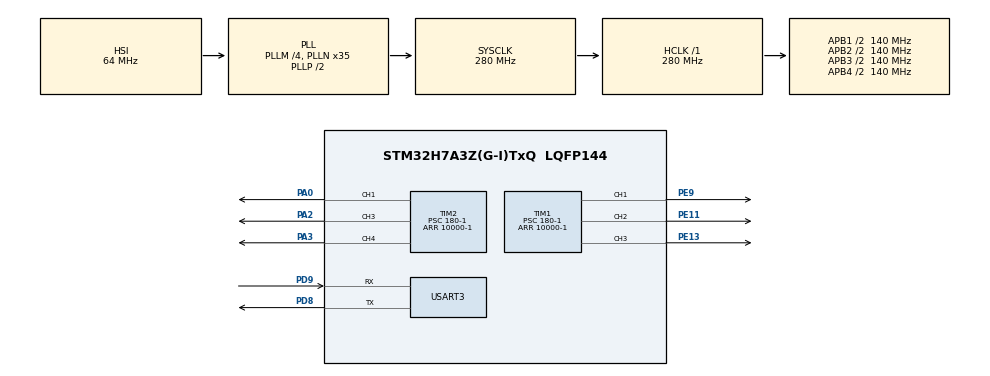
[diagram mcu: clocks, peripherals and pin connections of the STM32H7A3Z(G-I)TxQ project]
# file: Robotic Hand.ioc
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Mcu.Family=STM32H7
Mcu.Name=STM32H7A3Z(G-I)TxQ
Mcu.Package=LQFP144
NVIC.PriorityGroup=NVIC_PRIORITYGROUP_4
NVIC.USART3_IRQn=true\:0\:0\:false\:false\:true\:true\:true\:true
PA0.Signal=S_TIM2_CH1_ETR
PA2.Signal=S_TIM2_CH3
PA3.Signal=S_TIM2_CH4
PC14-OSC32_IN.Mode=LSE-External-Oscillator
PC14-OSC32_IN.Signal=RCC_OSC32_IN
PC15-OSC32_OUT.Mode=LSE-External-Oscillator
PC15-OSC32_OUT.Signal=RCC_OSC32_OUT
PD8.Mode=Asynchronous
PD8.Signal=USART3_TX
PD9.Mode=Asynchronous
PD9.Signal=USART3_RX
PE11.Signal=S_TIM1_CH2
PE13.Signal=S_TIM1_CH3
PE9.Signal=S_TIM1_CH1
PH0-OSC_IN.Mode=HSE-External-Clock-Source
PH0-OSC_IN.Signal=RCC_OSC_IN
ProjectManager.HeapSize=0x200
ProjectManager.StackSize=0x400
ProjectManager.TargetToolchain=STM32CubeIDE
RCC.ADCFreq_Value=129000000
RCC.APB1Freq_Value=140000000
RCC.APB2Freq_Value=140000000
RCC.APB3Freq_Value=140000000
RCC.APB4Freq_Value=140000000
RCC.CDPPRE=RCC_APB3_DIV2
RCC.CDPPRE1=RCC_APB1_DIV2
RCC.CDPPRE2=RCC_APB2_DIV2
RCC.CortexFreq_Value=280000000
RCC.DIVM1=4
RCC.DIVM3=1
RCC.DIVN1=35
RCC.DIVN3=24
RCC.DIVQ1=4
RCC.HCLKFreq_Value=280000000
RCC.HSE_VALUE=8000000
RCC.PLLFRACN=0
RCC.PWR_Regulator_Voltage_Scale=PWR_REGULATOR_VOLTAGE_SCALE0
RCC.SRDPPRE=RCC_APB4_DIV2
RCC.SYSCLKFreq_VALUE=280000000
RCC.SYSCLKSource=RCC_SYSCLKSOURCE_PLLCLK
RCC.SupplySource=PWR_DIRECT_SMPS_SUPPLY
RCC.USBCLockSelection=RCC_USBCLKSOURCE_HSI48
RCC.USBFreq_Value=48000000
SH.S_TIM1_CH1.0=TIM1_CH1,PWM Generation1 CH1
SH.S_TIM1_CH2.0=TIM1_CH2,PWM Generation2 CH2
SH.S_TIM1_CH3.0=TIM1_CH3,PWM Generation3 CH3
SH.S_TIM2_CH1_ETR.0=TIM2_CH1,PWM Generation1 CH1
SH.S_TIM2_CH3.0=TIM2_CH3,PWM Generation3 CH3
SH.S_TIM2_CH4.0=TIM2_CH4,PWM Generation4 CH4
TIM1.Channel-PWM\ Generation1\ CH1=TIM_CHANNEL_1
TIM1.Channel-PWM\ Generation2\ CH2=TIM_CHANNEL_2
TIM1.Channel-PWM\ Generation3\ CH3=TIM_CHANNEL_3
TIM1.Period=10000-1
TIM1.Prescaler=180-1
TIM2.Channel-PWM\ Generation1\ CH1=TIM_CHANNEL_1
TIM2.Channel-PWM\ Generation3\ CH3=TIM_CHANNEL_3
TIM2.Channel-PWM\ Generation4\ CH4=TIM_CHANNEL_4
TIM2.Period=10000-1
TIM2.Prescaler=180-1
USART3.VirtualMode-Asynchronous=VM_ASYNC
VP_TIM1_VS_ClockSourceINT.Mode=Internal
VP_TIM2_VS_ClockSourceINT.Mode=Internal
board=NUCLEO-H7A3ZI-Q

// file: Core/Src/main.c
/* USER CODE BEGIN Header */
/**
  ******************************************************************************
  * @file           : main.c
  * @brief          : Main program body
  ******************************************************************************
  * @attention
  *
  * Copyright (c) 2024 STMicroelectronics.
  * All rights reserved.
  *
  * This software is licensed under terms that can be found in the LICENSE file
  * in the root directory of this software component.
  * If no LICENSE file comes with this software, it is provided AS-IS.
  *
  ******************************************************************************
  */
/* USER CODE END Header */
#include "main.h"

TIM_HandleTypeDef htim1;
TIM_HandleTypeDef htim2;

UART_HandleTypeDef huart3;

/* USER CODE BEGIN PV */
unsigned char Buf[17];
char cleanStr[16];
int numbers[5];
/* USER CODE END PV */

void SystemClock_Config(void);
static void MX_GPIO_Init(void);
static void MX_TIM1_Init(void);
static void MX_TIM2_Init(void);
static void MX_USART3_UART_Init(void);

int main(void)
{

  /* MCU Configuration--------------------------------------------------------*/

  /* Reset of all peripherals, Initializes the Flash interface and the Systick. */
  HAL_Init();

  /* Configure the system clock */
  SystemClock_Config();

  /* Initialize all configured peripherals */
  MX_GPIO_Init();
  MX_TIM1_Init();
  MX_TIM2_Init();
  MX_USART3_UART_Init();
  /* USER CODE BEGIN 2 */
  HAL_TIM_PWM_Start(&htim1, TIM_CHANNEL_1);
  HAL_TIM_PWM_Start(&htim1, TIM_CHANNEL_2);
  HAL_TIM_PWM_Start(&htim2, TIM_CHANNEL_1);
  HAL_TIM_PWM_Start(&htim2, TIM_CHANNEL_3);
  HAL_TIM_PWM_Start(&htim2, TIM_CHANNEL_4);
  HAL_TIM_PWM_Start(&htim1, TIM_CHANNEL_3);
  /* USER CODE END 2 */

  /* Infinite loop */
  while (1)
  {

    /* USER CODE BEGIN 3 */
	  HAL_UART_Receive_IT(&huart3, Buf, sizeof(Buf));
	  strncpy(cleanStr, (const char *)Buf + 1, sizeof(Buf) - 2);

	  cleanStr[sizeof(Buf) - 2] = '\0';

	  for (int i = 0; i < 5; i++) {
	  	char temp[4];
	  	strncpy(temp, cleanStr + (i * 3), 3);
	  	temp[3] = '\0';
	  	numbers[i] = atoi(temp);
	  }

	  if ( numbers[4] >= 120 ){
	  	__HAL_TIM_SET_COMPARE(&htim2, TIM_CHANNEL_3, 5500);
	  }
	  else if (numbers[4] <= 30 ){
	  	__HAL_TIM_SET_COMPARE(&htim2, TIM_CHANNEL_3, 1000);
	  }
	  if ( numbers[3] >= 120 ){
		__HAL_TIM_SET_COMPARE(&htim1, TIM_CHANNEL_1, 400);
	  }
	  else if (numbers[3] <= 30 ){
	  	__HAL_TIM_SET_COMPARE(&htim1, TIM_CHANNEL_1, 3000);
	  }
	  if ( numbers[2] >= 120 ){
	  	__HAL_TIM_SET_COMPARE(&htim1, TIM_CHANNEL_2, 1050);
	  }
	  else if (numbers[2] <= 30 ){
	  	__HAL_TIM_SET_COMPARE(&htim1, TIM_CHANNEL_2, 4000);
	  }
	  if ( numbers[1] >= 120 ){
	  	__HAL_TIM_SET_COMPARE(&htim2, TIM_CHANNEL_1, 3500);
	  }
	  else if (numbers[1] <= 30 ){
	  	__HAL_TIM_SET_COMPARE(&htim2, TIM_CHANNEL_1, 1000);
	  }
	  if ( numbers[0] >= 120 ){
	  	__HAL_TIM_SET_COMPARE(&htim2, TIM_CHANNEL_4, 3500);
	  	__HAL_TIM_SET_COMPARE(&htim1, TIM_CHANNEL_3, 3500);
	  }
	  else if (numbers[0] <= 30 ){
	  	__HAL_TIM_SET_COMPARE(&htim1, TIM_CHANNEL_3, 1000);
	  	__HAL_TIM_SET_COMPARE(&htim2, TIM_CHANNEL_4, 1000);
	  }
  /* USER CODE END 3 */
  }
}
void SystemClock_Config(void)
{
  RCC_OscInitTypeDef RCC_OscInitStruct = {0};
  RCC_ClkInitTypeDef RCC_ClkInitStruct = {0};

  /*AXI clock gating */
  RCC->CKGAENR = 0xFFFFFFFF;

  /** Supply configuration update enable
  */
  HAL_PWREx_ConfigSupply(PWR_DIRECT_SMPS_SUPPLY);

  /** Configure the main internal regulator output voltage
  */
  __HAL_PWR_VOLTAGESCALING_CONFIG(PWR_REGULATOR_VOLTAGE_SCALE0);

  while(!__HAL_PWR_GET_FLAG(PWR_FLAG_VOSRDY)) {}

  /** Initializes the RCC Oscillators according to the specified parameters
  * in the RCC_OscInitTypeDef structure.
  */
  RCC_OscInitStruct.OscillatorType = RCC_OSCILLATORTYPE_HSI;
  RCC_OscInitStruct.HSIState = RCC_HSI_DIV1;
  RCC_OscInitStruct.HSICalibrationValue = 64;
  RCC_OscInitStruct.PLL.PLLState = RCC_PLL_ON;
  RCC_OscInitStruct.PLL.PLLSource = RCC_PLLSOURCE_HSI;
  RCC_OscInitStruct.PLL.PLLM = 4;
  RCC_OscInitStruct.PLL.PLLN = 35;
  RCC_OscInitStruct.PLL.PLLP = 2;
  RCC_OscInitStruct.PLL.PLLQ = 4;
  RCC_OscInitStruct.PLL.PLLR = 2;
  RCC_OscInitStruct.PLL.PLLRGE = RCC_PLL1VCIRANGE_3;
  RCC_OscInitStruct.PLL.PLLVCOSEL = RCC_PLL1VCOWIDE;
  RCC_OscInitStruct.PLL.PLLFRACN = 0;
  if (HAL_RCC_OscConfig(&RCC_OscInitStruct) != HAL_OK)
  {
    Error_Handler();
  }

  /** Initializes the CPU, AHB and APB buses clocks
  */
  RCC_ClkInitStruct.ClockType = RCC_CLOCKTYPE_HCLK|RCC_CLOCKTYPE_SYSCLK
                              |RCC_CLOCKTYPE_PCLK1|RCC_CLOCKTYPE_PCLK2
                              |RCC_CLOCKTYPE_D3PCLK1|RCC_CLOCKTYPE_D1PCLK1;
  RCC_ClkInitStruct.SYSCLKSource = RCC_SYSCLKSOURCE_PLLCLK;
  RCC_ClkInitStruct.SYSCLKDivider = RCC_SYSCLK_DIV1;
  RCC_ClkInitStruct.AHBCLKDivider = RCC_HCLK_DIV1;
  RCC_ClkInitStruct.APB3CLKDivider = RCC_APB3_DIV2;
  RCC_ClkInitStruct.APB1CLKDivider = RCC_APB1_DIV2;
  RCC_ClkInitStruct.APB2CLKDivider = RCC_APB2_DIV2;
  RCC_ClkInitStruct.APB4CLKDivider = RCC_APB4_DIV2;

  if (HAL_RCC_ClockConfig(&RCC_ClkInitStruct, FLASH_LATENCY_6) != HAL_OK)
  {
    Error_Handler();
  }
}

static void MX_TIM1_Init(void)
{

  TIM_ClockConfigTypeDef sClockSourceConfig = {0};
  TIM_MasterConfigTypeDef sMasterConfig = {0};
  TIM_OC_InitTypeDef sConfigOC = {0};
  TIM_BreakDeadTimeConfigTypeDef sBreakDeadTimeConfig = {0};

  htim1.Instance = TIM1;
  htim1.Init.Prescaler = 180-1;
  htim1.Init.CounterMode = TIM_COUNTERMODE_UP;
  htim1.Init.Period = 10000-1;
  htim1.Init.ClockDivision = TIM_CLOCKDIVISION_DIV1;
  htim1.Init.RepetitionCounter = 0;
  htim1.Init.AutoReloadPreload = TIM_AUTORELOAD_PRELOAD_DISABLE;
  if (HAL_TIM_Base_Init(&htim1) != HAL_OK)
  {
    Error_Handler();
  }
  sClockSourceConfig.ClockSource = TIM_CLOCKSOURCE_INTERNAL;
  if (HAL_TIM_ConfigClockSource(&htim1, &sClockSourceConfig) != HAL_OK)
  {
    Error_Handler();
  }
  if (HAL_TIM_PWM_Init(&htim1) != HAL_OK)
  {
    Error_Handler();
  }
  sMasterConfig.MasterOutputTrigger = TIM_TRGO_RESET;
  sMasterConfig.MasterOutputTrigger2 = TIM_TRGO2_RESET;
  sMasterConfig.MasterSlaveMode = TIM_MASTERSLAVEMODE_DISABLE;
  if (HAL_TIMEx_MasterConfigSynchronization(&htim1, &sMasterConfig) != HAL_OK)
  {
    Error_Handler();
  }
  sConfigOC.OCMode = TIM_OCMODE_PWM1;
  sConfigOC.Pulse = 0;
  sConfigOC.OCPolarity = TIM_OCPOLARITY_HIGH;
  sConfigOC.OCNPolarity = TIM_OCNPOLARITY_HIGH;
  sConfigOC.OCFastMode = TIM_OCFAST_DISABLE;
  sConfigOC.OCIdleState = TIM_OCIDLESTATE_RESET;
  sConfigOC.OCNIdleState = TIM_OCNIDLESTATE_RESET;
  if (HAL_TIM_PWM_ConfigChannel(&htim1, &sConfigOC, TIM_CHANNEL_1) != HAL_OK)
  {
    Error_Handler();
  }
  if (HAL_TIM_PWM_ConfigChannel(&htim1, &sConfigOC, TIM_CHANNEL_2) != HAL_OK)
  {
    Error_Handler();
  }
  if (HAL_TIM_PWM_ConfigChannel(&htim1, &sConfigOC, TIM_CHANNEL_3) != HAL_OK)
  {
    Error_Handler();
  }
  sBreakDeadTimeConfig.OffStateRunMode = TIM_OSSR_DISABLE;
  sBreakDeadTimeConfig.OffStateIDLEMode = TIM_OSSI_DISABLE;
  sBreakDeadTimeConfig.LockLevel = TIM_LOCKLEVEL_OFF;
  sBreakDeadTimeConfig.DeadTime = 0;
  sBreakDeadTimeConfig.BreakState = TIM_BREAK_DISABLE;
  sBreakDeadTimeConfig.BreakPolarity = TIM_BREAKPOLARITY_HIGH;
  sBreakDeadTimeConfig.BreakFilter = 0;
  sBreakDeadTimeConfig.Break2State = TIM_BREAK2_DISABLE;
  sBreakDeadTimeConfig.Break2Polarity = TIM_BREAK2POLARITY_HIGH;
  sBreakDeadTimeConfig.Break2Filter = 0;
  sBreakDeadTimeConfig.AutomaticOutput = TIM_AUTOMATICOUTPUT_DISABLE;
  if (HAL_TIMEx_ConfigBreakDeadTime(&htim1, &sBreakDeadTimeConfig) != HAL_OK)
  {
    Error_Handler();
  }
  HAL_TIM_MspPostInit(&htim1);

}

static void MX_TIM2_Init(void)
{

  TIM_ClockConfigTypeDef sClockSourceConfig = {0};
  TIM_MasterConfigTypeDef sMasterConfig = {0};
  TIM_OC_InitTypeDef sConfigOC = {0};

  htim2.Instance = TIM2;
  htim2.Init.Prescaler = 180-1;
  htim2.Init.CounterMode = TIM_COUNTERMODE_UP;
  htim2.Init.Period = 10000-1;
  htim2.Init.ClockDivision = TIM_CLOCKDIVISION_DIV1;
  htim2.Init.AutoReloadPreload = TIM_AUTORELOAD_PRELOAD_DISABLE;
  if (HAL_TIM_Base_Init(&htim2) != HAL_OK)
  {
    Error_Handler();
  }
  sClockSourceConfig.ClockSource = TIM_CLOCKSOURCE_INTERNAL;
  if (HAL_TIM_ConfigClockSource(&htim2, &sClockSourceConfig) != HAL_OK)
  {
    Error_Handler();
  }
  if (HAL_TIM_PWM_Init(&htim2) != HAL_OK)
  {
    Error_Handler();
  }
  sMasterConfig.MasterOutputTrigger = TIM_TRGO_RESET;
  sMasterConfig.MasterSlaveMode = TIM_MASTERSLAVEMODE_DISABLE;
  if (HAL_TIMEx_MasterConfigSynchronization(&htim2, &sMasterConfig) != HAL_OK)
  {
    Error_Handler();
  }
  sConfigOC.OCMode = TIM_OCMODE_PWM1;
  sConfigOC.Pulse = 0;
  sConfigOC.OCPolarity = TIM_OCPOLARITY_HIGH;
  sConfigOC.OCFastMode = TIM_OCFAST_DISABLE;
  if (HAL_TIM_PWM_ConfigChannel(&htim2, &sConfigOC, TIM_CHANNEL_1) != HAL_OK)
  {
    Error_Handler();
  }
  if (HAL_TIM_PWM_ConfigChannel(&htim2, &sConfigOC, TIM_CHANNEL_3) != HAL_OK)
  {
    Error_Handler();
  }
  if (HAL_TIM_PWM_ConfigChannel(&htim2, &sConfigOC, TIM_CHANNEL_4) != HAL_OK)
  {
    Error_Handler();
  }
  HAL_TIM_MspPostInit(&htim2);

}

static void MX_USART3_UART_Init(void)
{

  huart3.Instance = USART3;
  huart3.Init.BaudRate = 115200;
  huart3.Init.WordLength = UART_WORDLENGTH_8B;
  huart3.Init.StopBits = UART_STOPBITS_1;
  huart3.Init.Parity = UART_PARITY_NONE;
  huart3.Init.Mode = UART_MODE_TX_RX;
  huart3.Init.HwFlowCtl = UART_HWCONTROL_NONE;
  huart3.Init.OverSampling = UART_OVERSAMPLING_16;
  huart3.Init.OneBitSampling = UART_ONE_BIT_SAMPLE_DISABLE;
  huart3.Init.ClockPrescaler = UART_PRESCALER_DIV1;
  huart3.AdvancedInit.AdvFeatureInit = UART_ADVFEATURE_NO_INIT;
  if (HAL_UART_Init(&huart3) != HAL_OK)
  {
    Error_Handler();
  }
  if (HAL_UARTEx_SetTxFifoThreshold(&huart3, UART_TXFIFO_THRESHOLD_1_8) != HAL_OK)
  {
    Error_Handler();
  }
  if (HAL_UARTEx_SetRxFifoThreshold(&huart3, UART_RXFIFO_THRESHOLD_1_8) != HAL_OK)
  {
    Error_Handler();
  }
  if (HAL_UARTEx_DisableFifoMode(&huart3) != HAL_OK)
  {
    Error_Handler();
  }

}

static void MX_GPIO_Init(void)
{

  /* GPIO Ports Clock Enable */
  __HAL_RCC_GPIOC_CLK_ENABLE();
  __HAL_RCC_GPIOH_CLK_ENABLE();
  __HAL_RCC_GPIOA_CLK_ENABLE();
  __HAL_RCC_GPIOE_CLK_ENABLE();
  __HAL_RCC_GPIOD_CLK_ENABLE();

}

void Error_Handler(void)
{
  __disable_irq();
  while (1)
  {
  }
}
